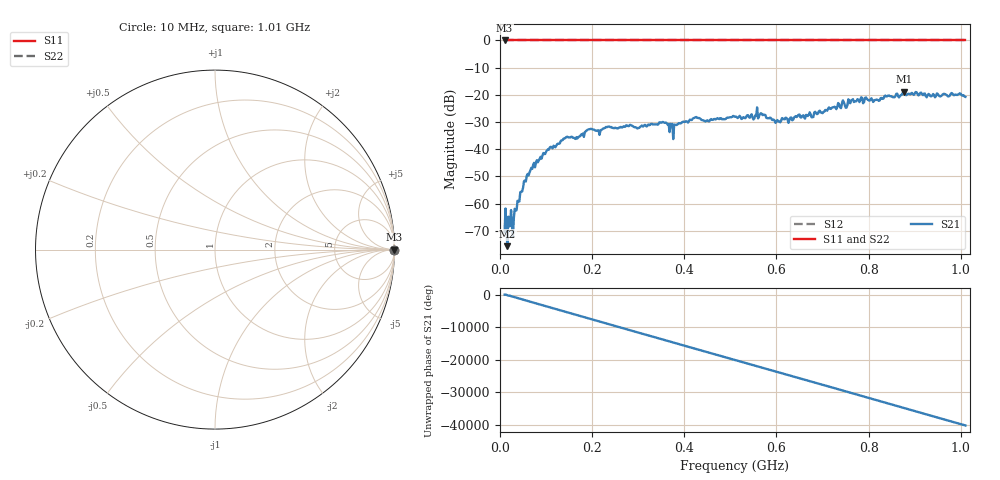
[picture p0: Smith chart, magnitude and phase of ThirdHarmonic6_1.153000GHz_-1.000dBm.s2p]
! 8/16/2025 11:28:35 AM
! C:\ANRITSUVNA\TEMP\TEMP.S2P
! CHANNEL.1
! TR.MEASUREMENT
! RAW.DATA
! RF.CORRECTION.OFF
! AVERAGING.OFF
! IF.BANDWIDTH: 5KHZ
! SWEEPTYPE:  FREQ.SWEEP(Linear)
! Reference Plane Port Info
! PORT:  PORT1  PORT2
! DISTANCE:  0  m  0  m
! TIME:  0  s  0  s
! PHASE.OFFSET:  0  deg.  0  deg.
! LOSS:  0  dB  0  dB
! REF.LOSS:  0  dB  0  dB
! REF.FREQ:  0  Hz  0  Hz
! Power Info
! POWER:  -20  dBm  -20  dBm
! EFF.POWER:  -20  dBm  -20  dBm
! SOURCE.ATTEN:  0  dB  0  dB
! TEST.ATTEN:  0  dB  0  dB
# GHZ S RI R 50.0
! FREQ.GHZ  S11RE  S11IM  S21RE  S21IM  S12RE  S12IM  S22RE  S22IM
!; PortSelection: Port_12
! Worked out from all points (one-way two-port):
!   501 points, 10 MHz to 1.01 GHz, reference 50 ohm
!   highest |S21| = -18.83 dB at 876 MHz (marker M1); lowest = -75.7 dB at 16 MHz (marker M2)
!   lowest |S11| = 0.0 dB at 10 MHz (marker M3)
!   |S11| at or under -10 dB: nowhere
!   |S22| runs from 0.0 to 0.0 dB; largest |S21 - S12| = 1.1
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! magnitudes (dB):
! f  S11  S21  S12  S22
! 10 MHz  0.0  -70.5  0.0  0.0
! 16 MHz  0.0  -75.7  0.0  0.0
! 18 MHz  0.0  -64.8  0.0  0.0
! 22 MHz  0.0  -68.0  0.0  0.0
! 30 MHz  0.0  -65.4  0.0  0.0
! 36 MHz  0.0  -62.4  0.0  0.0
! 56 MHz  0.0  -51.9  0.0  0.0
! 76 MHz  0.0  -46.6  0.0  0.0
! 142 MHz  0.0  -35.8  0.0  0.0
! 178 MHz  0.0  -34.7  0.0  0.0
! 194 MHz  0.0  -32.6  0.0  0.0
! 344 MHz  0.0  -30.8  0.0  0.0
! 372 MHz  0.0  -30.9  0.0  0.0
! 424 MHz  0.0  -28.2  0.0  0.0
! 510 MHz  0.0  -28.0  0.0  0.0
! 570 MHz  0.0  -27.4  0.0  0.0
! 602 MHz  0.0  -29.3  0.0  0.0
! 678 MHz  0.0  -28.2  0.0  0.0
! 760 MHz  0.0  -23.1  0.0  0.0
! 844 MHz  0.0  -20.2  0.0  0.0
! 876 MHz  0.0  -18.8  0.0  0.0
! 1.01 GHz  0.0  -20.7  0.0  0.0
